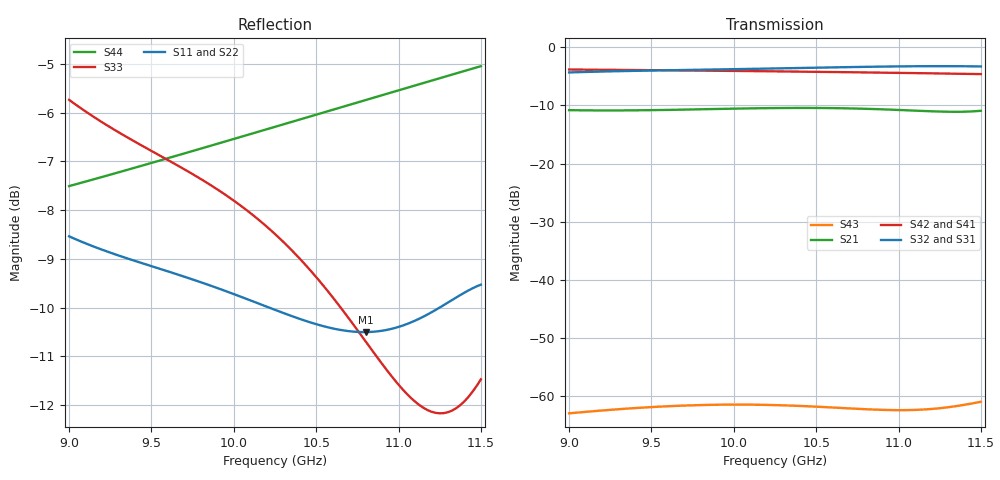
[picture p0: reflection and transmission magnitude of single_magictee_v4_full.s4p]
! Generated from PyAEDT SolutionData; AEDT ExportNetworkData workaround
# GHz S MA R 50
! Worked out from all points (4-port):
!   101 points, 9 GHz to 11.5 GHz, reference 50 ohm
!   strongest paths, dB at 9 GHz, 9.625 GHz, 10.25 GHz, 10.88 GHz, 11.5 GHz:
!     S32: -4.4, -4.0, -3.7, -3.4, -3.3
!     S31: -4.4, -4.0, -3.7, -3.4, -3.3
!     S42: -3.9, -4.0, -4.2, -4.4, -4.6
!     S41: -3.9, -4.0, -4.2, -4.4, -4.6
!     S21: -10.8, -10.8, -10.5, -10.7, -10.9
!     S43: -62.9, -61.7, -61.5, -62.3, -60.9
!   lowest |S11| = -10.5 dB at 10.8 GHz (marker M1), VSWR 1.85, Z = 27.2 + j3.1 ohm
!   |S11| at or under -10 dB: 10.22 GHz to 11.25 GHz (1.033 GHz wide, 9.63 % of centre)
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9  0.3742 1.4  0.2872 -76.6  0.6055 -18.8  0.641 45.0
   0.2872 -76.6  0.3731 1.4  0.6055 -18.9  0.6416 -135.2
   0.6055 -18.8  0.6055 -18.9  0.5164 173.8  0.0007149 -113.3
   0.641 45.0  0.6416 -135.2  0.0007149 -113.3  0.4213 -133.4
9.4  0.3531 -45.7  0.2863 -132.1  0.6249 -90.0  0.6347 -0.2
     0.2863 -132.1  0.3519 -45.7  0.625 -90.1  0.6352 179.7
     0.6249 -90.0  0.625 -90.1  0.4678 83.2  0.0007928 177.6
     0.6347 -0.2  0.6352 179.7  0.0007928 177.6  0.4401 -175.3
9.925  0.33 -104.3  0.2945 158.9  0.6431 -179.3  0.6251 -57.1
       0.2945 158.9  0.3287 -104.4  0.6434 -179.4  0.6255 122.7
       0.6431 -179.3  0.6434 -179.4  0.4153 -29.5  0.0008476 87.9
       0.6251 -57.1  0.6255 122.7  0.0008476 87.9  0.4669 131.2
10.4  0.308 -153.1  0.3001 98.3  0.6608 102.1  0.6151 -107.1
      0.3001 98.3  0.3067 -153.3  0.6612 102.0  0.6153 72.7
      0.6608 102.1  0.6612 102.0  0.355 -129.4  0.0008273 10.7
      0.6151 -107.1  0.6153 72.7  0.0008273 10.7  0.493 83.6
10.8  0.2985 170.0  0.295 48.9  0.676 35.9  0.6057 -148.2
      0.295 48.9  0.2975 169.8  0.6765 35.8  0.6056 31.5
      0.676 35.9  0.6765 35.8  0.2921 141.8  0.0007754 -47.7
      0.6057 -148.2  0.6056 31.5  0.0007754 -47.7  0.5161 44.1
11.125  0.3081 141.2  0.2836 11.2  0.6841 -18.9  0.5972 178.7
        0.2836 11.2  0.3074 141.0  0.6846 -19.1  0.597 -1.6
        0.6841 -18.9  0.6846 -19.1  0.2514 60.9  0.0007673 -88.3
        0.5972 178.7  0.597 -1.6  0.0007673 -88.3  0.5357 12.1
11.5  0.3339 103.3  0.2838 -26.4  0.6812 -85.3  0.5865 140.8
      0.2838 -26.4  0.3337 103.0  0.6817 -85.6  0.586 -39.5
      0.6812 -85.3  0.6817 -85.6  0.267 -39.0  0.0008984 -133.5
      0.5865 140.8  0.586 -39.5  0.0008984 -133.5  0.5591 -24.8
